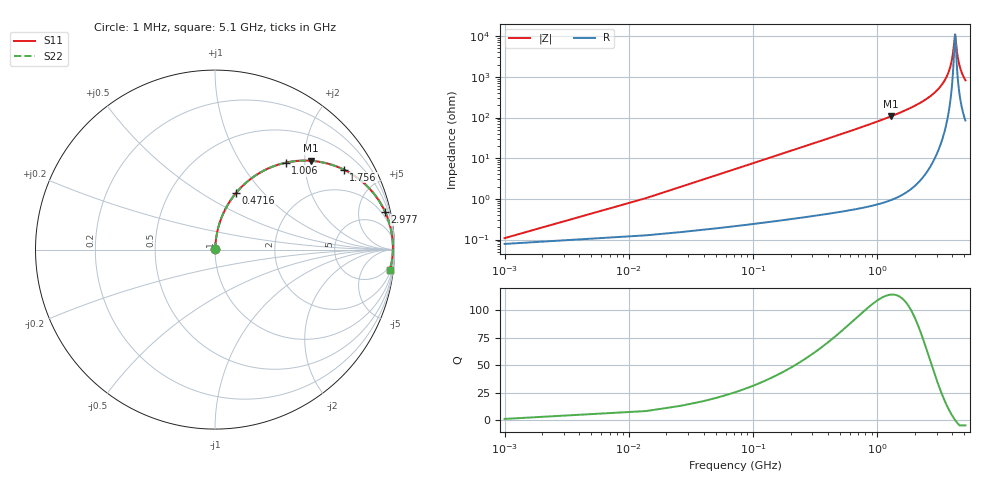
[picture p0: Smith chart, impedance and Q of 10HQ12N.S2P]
! Coilcraft 1008HQ-12N Chip Inductor
! 10 July 2002
# MHZ S MA R 50
!Freq  MagS11  AngS11  MagS21  AngS21  MagS12  AngS12  MagS22  AngS22
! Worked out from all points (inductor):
!   402 points, 1 MHz to 5.1 GHz, reference 50 ohm
!   read as one part in series: L = 12 nH near 26.44 MHz
!   highest Q = 114 at 1.286 GHz (marker M1), where L = 13.2 nH
!   self-resonance near 4.211 GHz
!   S11 on the Smith chart (normalised r, x): 1 MHz: 1.00, +0.00; 471.6 MHz: 1.01, +0.72; 1.006 GHz: 1.01, +1.61; 1.756 GHz: 1.03, +3.21; 2.977 GHz: 1.24, +8.97; 5.1 GHz: 3, -16
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1  0.001085 43.9  0.9992 -0.0  0.9992 -0.0  0.001085 43.9
39.16  0.02952 85.0  0.9978 -1.7  0.9978 -1.7  0.02952 85.0
64.6  0.0486 84.8  0.9968 -2.8  0.9968 -2.8  0.0486 84.8
102.76  0.07714 83.8  0.9946 -4.4  0.9946 -4.4  0.07714 83.8
242.68  0.18 78.6  0.9803 -10.4  0.9803 -10.4  0.18 78.6
471.64  0.3375 69.5  0.937 -19.7  0.937 -19.7  0.3375 69.5
853.24  0.5546 55.8  0.8267 -33.7  0.8267 -33.7  0.5546 55.8
1005.88  0.624 50.9  0.7758 -38.6  0.7758 -38.6  0.624 50.9
1285.72  0.7271 42.9  0.6802 -46.6  0.6802 -46.6  0.7271 42.9
1705.48  0.8348 32.9  0.5428 -56.6  0.5428 -56.6  0.8348 32.9
1756.36  0.8448 31.8  0.527 -57.7  0.527 -57.7  0.8448 31.8
2557.72  0.9457 18.0  0.3096 -71.0  0.3096 -71.0  0.9457 18.0
2977.48  0.9705 12.5  0.2164 -76.0  0.2164 -76.0  0.9705 12.5
3409.96  0.9845 7.6  0.1322 -79.5  0.1322 -79.5  0.9845 7.6
3855.16  0.9906 3.2  0.05596 -78.7  0.05596 -78.7  0.9906 3.2
4033.24  0.9912 1.6  0.02848 -71.2  0.02848 -71.2  0.9912 1.6
4198.6  0.991 0.1  0.009219 -13.3  0.009219 -13.3  0.991 0.1
4262.2  0.9908 -0.4  0.01169 37.8  0.01169 37.8  0.9908 -0.4
4389.4  0.9901 -1.5  0.02731 67.9  0.02731 67.9  0.9901 -1.5
4554.76  0.9886 -2.8  0.04962 75.4  0.04962 75.4  0.9886 -2.8
4796.44  0.9857 -4.6  0.08141 77.6  0.08141 77.6  0.9857 -4.6
5100  0.9807 -6.8  0.1192 77.3  0.1192 77.3  0.9807 -6.8
